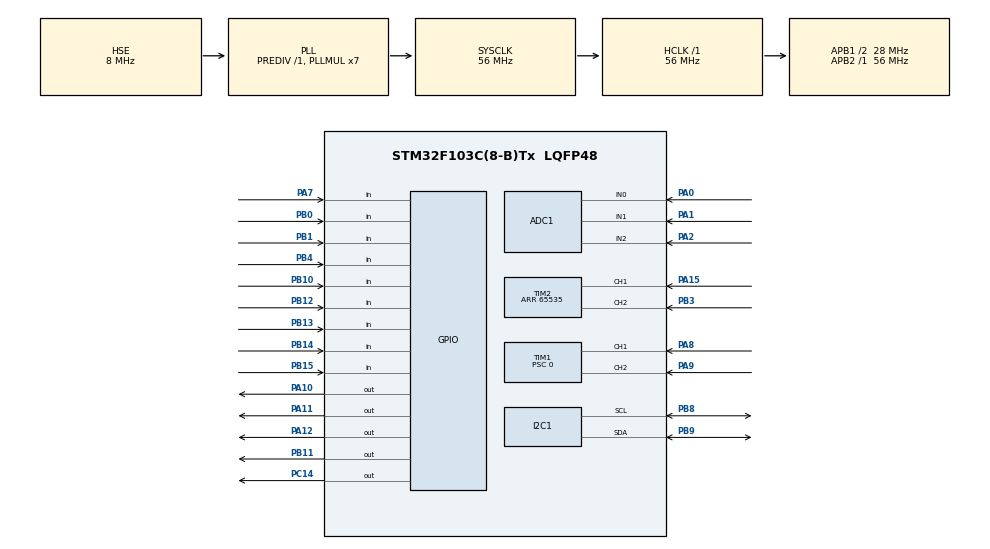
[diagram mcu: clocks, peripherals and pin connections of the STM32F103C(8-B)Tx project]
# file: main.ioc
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ADC1.Channel-0\#ChannelRegularConversion=ADC_CHANNEL_0
ADC1.ContinuousConvMode=ENABLE
ADC1.NbrOfConversion=1
ADC1.NbrOfConversionFlag=1
ADC1.Rank-0\#ChannelRegularConversion=1
ADC1.SamplingTime-0\#ChannelRegularConversion=ADC_SAMPLETIME_239CYCLES_5
ADC1.master=1
I2C1.I2C_Mode=I2C_Fast
Mcu.Family=STM32F1
Mcu.Name=STM32F103C(8-B)Tx
Mcu.Package=LQFP48
NVIC.PriorityGroup=NVIC_PRIORITYGROUP_4
PA0-WKUP.Signal=ADCx_IN0
PA1.Signal=ADCx_IN1
PA10.Signal=GPIO_Output
PA11.Signal=GPIO_Output
PA12.Signal=GPIO_Output
PA13.Mode=Serial_Wire
PA13.Signal=SYS_JTMS-SWDIO
PA14.Mode=Serial_Wire
PA14.Signal=SYS_JTCK-SWCLK
PA15.GPIO_PuPd=GPIO_PULLUP
PA15.Signal=S_TIM2_CH1_ETR
PA2.Signal=ADCx_IN2
PA7.GPIO_PuPd=GPIO_PULLUP
PA7.Signal=GPIO_Input
PA8.GPIO_Mode=GPIO_MODE_INPUT
PA8.GPIO_PuPd=GPIO_PULLUP
PA8.Signal=S_TIM1_CH1
PA9.GPIO_Mode=GPIO_MODE_INPUT
PA9.GPIO_PuPd=GPIO_PULLUP
PA9.Signal=S_TIM1_CH2
PB0.GPIO_PuPd=GPIO_PULLUP
PB0.Signal=GPIO_Input
PB1.GPIO_PuPd=GPIO_PULLUP
PB1.Signal=GPIO_Input
PB10.GPIO_PuPd=GPIO_PULLUP
PB10.Signal=GPIO_Input
PB11.Signal=GPIO_Output
PB12.GPIO_PuPd=GPIO_PULLUP
PB12.Signal=GPIO_Input
PB13.GPIO_PuPd=GPIO_PULLUP
PB13.Signal=GPIO_Input
PB14.GPIO_PuPd=GPIO_PULLUP
PB14.Signal=GPIO_Input
PB15.GPIO_PuPd=GPIO_PULLUP
PB15.Signal=GPIO_Input
PB3.GPIO_PuPd=GPIO_PULLUP
PB3.Signal=S_TIM2_CH2
PB4.GPIO_PuPd=GPIO_PULLUP
PB4.Signal=GPIO_Input
PB8.Mode=I2C
PB8.Signal=I2C1_SCL
PB9.Mode=I2C
PB9.Signal=I2C1_SDA
PC14-OSC32_IN.Signal=GPIO_Output
PD0-OSC_IN.Mode=HSE-External-Oscillator
PD0-OSC_IN.Signal=RCC_OSC_IN
PD1-OSC_OUT.Mode=HSE-External-Oscillator
PD1-OSC_OUT.Signal=RCC_OSC_OUT
ProjectManager.HeapSize=0x200
ProjectManager.StackSize=0x400
ProjectManager.TargetToolchain=Makefile
RCC.ADCPresc=RCC_ADCPCLK2_DIV4
RCC.AHBFreq_Value=56000000
RCC.APB1CLKDivider=RCC_HCLK_DIV2
RCC.APB1Freq_Value=28000000
RCC.APB1TimFreq_Value=56000000
RCC.APB2Freq_Value=56000000
RCC.APB2TimFreq_Value=56000000
RCC.HCLKFreq_Value=56000000
RCC.PLLMUL=RCC_PLL_MUL7
RCC.PLLSourceVirtual=RCC_PLLSOURCE_HSE
RCC.SYSCLKFreq_VALUE=56000000
RCC.SYSCLKSource=RCC_SYSCLKSOURCE_PLLCLK
RCC.USBFreq_Value=56000000
SH.ADCx_IN0.0=ADC1_IN0,IN0
SH.ADCx_IN1.0=ADC1_IN1,IN1
SH.ADCx_IN2.0=ADC1_IN2,IN2
SH.S_TIM1_CH1.0=TIM1_CH1,Encoder_Interface
SH.S_TIM1_CH2.0=TIM1_CH2,Encoder_Interface
SH.S_TIM2_CH1_ETR.0=TIM2_CH1,Encoder_Interface
SH.S_TIM2_CH2.0=TIM2_CH2,Encoder_Interface
TIM1.ClockDivision=TIM_CLOCKDIVISION_DIV1
TIM1.CounterMode=TIM_COUNTERMODE_UP
TIM1.EncoderMode=TIM_ENCODERMODE_TI1
TIM1.IC1Filter=0
TIM1.IC2Filter=0
TIM1.Period=65535
TIM1.Prescaler=0
TIM2.Period=65535
board=stm32-si5351-vfo

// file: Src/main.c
/* USER CODE BEGIN Header */
/**
  ******************************************************************************
  * @file           : main.c
  * @brief          : Main program body
  ******************************************************************************
  ** This notice applies to any and all portions of this file
  * that are not between comment pairs USER CODE BEGIN and
  * USER CODE END. Other portions of this file, whether
  * inserted by the user or by software development tools
  * are owned by their respective copyright owners.
  *
  * COPYRIGHT(c) 2020 STMicroelectronics
  *
  * Redistribution and use in source and binary forms, with or without modification,
  * are permitted provided that the following conditions are met:
  *   1. Redistributions of source code must retain the above copyright notice,
  *      this list of conditions and the following disclaimer.
  *   2. Redistributions in binary form must reproduce the above copyright notice,
  *      this list of conditions and the following disclaimer in the documentation
  *      and/or other materials provided with the distribution.
  *   3. Neither the name of STMicroelectronics nor the names of its contributors
  *      may be used to endorse or promote products derived from this software
  *      without specific prior written permission.
  *
  * THIS SOFTWARE IS PROVIDED BY THE COPYRIGHT HOLDERS AND CONTRIBUTORS "AS IS"
  * AND ANY EXPRESS OR IMPLIED WARRANTIES, INCLUDING, BUT NOT LIMITED TO, THE
  * IMPLIED WARRANTIES OF MERCHANTABILITY AND FITNESS FOR A PARTICULAR PURPOSE ARE
  * DISCLAIMED. IN NO EVENT SHALL THE COPYRIGHT HOLDER OR CONTRIBUTORS BE LIABLE
  * FOR ANY DIRECT, INDIRECT, INCIDENTAL, SPECIAL, EXEMPLARY, OR CONSEQUENTIAL
  * DAMAGES (INCLUDING, BUT NOT LIMITED TO, PROCUREMENT OF SUBSTITUTE GOODS OR
  * SERVICES; LOSS OF USE, DATA, OR PROFITS; OR BUSINESS INTERRUPTION) HOWEVER
  * CAUSED AND ON ANY THEORY OF LIABILITY, WHETHER IN CONTRACT, STRICT LIABILITY,
  * OR TORT (INCLUDING NEGLIGENCE OR OTHERWISE) ARISING IN ANY WAY OUT OF THE USE
  * OF THIS SOFTWARE, EVEN IF ADVISED OF THE POSSIBILITY OF SUCH DAMAGE.
  *
  ******************************************************************************
  */
/* USER CODE END Header */

#include "main.h"

/* USER CODE BEGIN Includes */
#include <string.h>
#include <stdlib.h>
#include <stdbool.h>
#include "si5351.h"
#include "lcd.h"

/* USER CODE END Includes */

ADC_HandleTypeDef hadc1;

I2C_HandleTypeDef hi2c1;

TIM_HandleTypeDef htim1;
TIM_HandleTypeDef htim2;

/* USER CODE BEGIN PV */
/* Private variables ---------------------------------------------------------*/

/* USER CODE END PV */

void SystemClock_Config(void);
static void MX_GPIO_Init(void);
static void MX_TIM1_Init(void);
static void MX_I2C1_Init(void);
static void MX_TIM2_Init(void);
static void MX_ADC1_Init(void);
/* USER CODE BEGIN PFP */
/* Private function prototypes -----------------------------------------------*/

/* USER CODE END PFP */

/* USER CODE BEGIN 0 */

#define CH_CW   0
#define CH_CAL  1
#define CH_VFO  2

const int32_t XtalFilterCenterFrequency = 8998280;
const int32_t si5351_correction = 5760;

/* Adjust for used rotary encoders */
#define MAIN_DELTA_DIV 20
#define MAIN_DELTA_MULT 1
#define MULTI_DELTA_DIV 1
#define MULTI_DELTA_MULT -1

int32_t Fvfo = 1000000; // dummy value, will be changed below

const uint8_t eeprom_i2c_addr = (0x50 << 1);
#define KEYER_CONFIG_EEPROM_ADDR        0x0000

typedef enum {
    CLAR_MODE_DISABLED = 0,
    CLAR_MODE_RIT = 1,
    CLAR_MODE_XIT = 2,
} ClarMode_t;

bool lockMode = false;
bool fastMode = false;
bool bandMode = false;
ClarMode_t clarMode = CLAR_MODE_DISABLED;

int32_t clarOffset = 0;

int32_t sendStart = 0;
int32_t sendFinish = 0;
int32_t keyReadTimeout = 0;
int32_t sendTimeout = 0;
bool isSending = false;

typedef enum {
    CW_SEND_NONE = 0,
    CW_SEND_DIT = 1,
    CW_SEND_DAH = 2,
} CwSend_t;

CwSend_t lastSent = CW_SEND_NONE;
CwSend_t nextSend = CW_SEND_NONE;

typedef struct {
    uint16_t checksum;
    bool straightKey;
    int32_t speedWPM;
    int32_t ditTimeMs;
} KeyerConfig_t;

KeyerConfig_t keyerConfig = {
    .checksum = 0,
    .straightKey = false,
    .speedWPM = 19,

    // ditTimeMs = 60*1000/(50*WPM)
    // where 50 is the length in dits of "PARIS "
    // see https://morsecode.world/international/timing.html
    .ditTimeMs = 63,
};

bool inTransmitMode = false;
bool inCWTrainerMode = false;

#define BUTTON_DEBOUNCE_TIME_MS 200
typedef enum {
    BUTTON_STATUS_PRESSED = 0,
    BUTTON_STATUS_RELEASED = 1,
    BUTTON_STATUS_DEBOUNCE = 2,
} ButtonStatus_t;

typedef enum {
    USE_LPF_30 = 0,
    USE_LPF_17 = 1,
    USE_LPF_12 = 2,
} UseLPF_t;

typedef struct {
    int32_t minFreq;
    int32_t maxFreq;
    int32_t lastFreq;
    UseLPF_t lpf;
    /*
     * Compensate for losses in RG-174, frequency response of the given
     * PA depending on the used transistor, imperfections of the LPFs, etc.
     */
    si5351DriveStrength_t txDriveStrength;
} BandInfo_t;

int32_t currentBand = 0; // default: 30m

BandInfo_t bands[] = {
/*
    {
        .minFreq  = 3500000,
        .maxFreq  = 3570000,
        .lastFreq = 3560000,
        .lpf = USE_LPF_80,
        .txDriveStrength = SI5351_DRIVE_STRENGTH_2MA,
    },
    {
        .minFreq  = 7000000,
        .maxFreq  = 7040000,
        .lastFreq = 7030000,
        .lpf = USE_LPF_40,
        .txDriveStrength = SI5351_DRIVE_STRENGTH_2MA,
    },
*/
    {
        .minFreq  = 10100000,
        .maxFreq  = 10130000,
        .lastFreq = 10116000,
        .lpf = USE_LPF_30,
        .txDriveStrength = SI5351_DRIVE_STRENGTH_2MA,
    },
/*
    {
        .minFreq  = 14000000,
        .maxFreq  = 14070000,
        .lastFreq = 14060000,
        .lpf = USE_LPF_20,
        .txDriveStrength = SI5351_DRIVE_STRENGTH_2MA,
    },
*/
    {
        .minFreq  = 18068000,
        .maxFreq  = 18095000,
        .lastFreq = 18086000,
        .lpf = USE_LPF_17,
        .txDriveStrength = SI5351_DRIVE_STRENGTH_2MA,
    },
/*
    {
        .minFreq  = 21000000,
        .maxFreq  = 21070000,
        .lastFreq = 21060000,
        .lpf = USE_LPF_15,
        .txDriveStrength = SI5351_DRIVE_STRENGTH_2MA,
    },
*/
    {
        .minFreq  = 24890000,
        .maxFreq  = 24915000,
        .lastFreq = 24906000,
        .lpf = USE_LPF_12,
        .txDriveStrength = SI5351_DRIVE_STRENGTH_2MA,
    },
/*
    {
        .minFreq  = 28000000,
        .maxFreq  = 28070000,
        .lastFreq = 28060000,
        .lpf = USE_LPF_10,
        .txDriveStrength = SI5351_DRIVE_STRENGTH_2MA,
    },
*/
};

void ADC_Select_Channel(uint32_t ch) {
    ADC_ChannelConfTypeDef conf = {
        .Channel = ch,
        .Rank = 1,
        .SamplingTime = ADC_SAMPLETIME_28CYCLES_5,
    };
    if (HAL_ADC_ConfigChannel(&hadc1, &conf) != HAL_OK) {
        Error_Handler();
    }
}

double ADC_ReadVoltage(uint32_t ch) {
    ADC_Select_Channel(ch);
    HAL_ADC_PollForConversion(&hadc1, HAL_MAX_DELAY);
    return ((double)HAL_ADC_GetValue(&hadc1))*3.3/4096.0;
}

// http://en.wikipedia.org/wiki/Jenkins_hash_function
uint32_t jenkinsHash(const uint8_t *data, const size_t len) {
  uint32_t hash, i;
  for(hash = i = 0; i < len; ++i) {
    hash += data[i];
    hash += (hash << 10);
    hash ^= (hash >> 6);
  }
  hash += (hash << 3);
  hash ^= (hash >> 11);
  hash += (hash << 15);
  return hash;
}

void loadKeyerConfig() {
    HAL_StatusTypeDef status;
    uint16_t savedChecksum;
    KeyerConfig_t savedKeyerConfig;

    for(;;) {
        status = HAL_I2C_IsDeviceReady(&hi2c1, eeprom_i2c_addr, 3, HAL_MAX_DELAY);
        if(status == HAL_OK)
            break;
    }

    HAL_I2C_Mem_Read(&hi2c1, eeprom_i2c_addr, KEYER_CONFIG_EEPROM_ADDR, I2C_MEMADD_SIZE_16BIT,
        (uint8_t*)&savedKeyerConfig, sizeof(savedKeyerConfig), HAL_MAX_DELAY);

    savedChecksum = savedKeyerConfig.checksum;
    savedKeyerConfig.checksum = 0;

    if((jenkinsHash((const uint8_t*)&savedKeyerConfig, sizeof(savedKeyerConfig)) & 0xFFFF) == savedChecksum) {
        keyerConfig = savedKeyerConfig;
    } else {
        LCD_Goto(0, 0);
        LCD_SendString("CHECKSUM");
        LCD_Goto(1, 0);
        LCD_SendString(" ERROR! ");
        HAL_Delay(2000);
        LCD_Clear();
    }
}

void saveKeyerConfig() {
    HAL_StatusTypeDef status;
    uint16_t checksum;
    keyerConfig.checksum = 0;

    checksum = (jenkinsHash((const uint8_t*)&keyerConfig, sizeof(keyerConfig)) & 0xFFFF);
    keyerConfig.checksum = checksum;

    for(;;) {
        status = HAL_I2C_IsDeviceReady(&hi2c1, eeprom_i2c_addr, 3, HAL_MAX_DELAY);
        if(status == HAL_OK)
            break;
    }

    HAL_I2C_Mem_Write(&hi2c1, eeprom_i2c_addr, KEYER_CONFIG_EEPROM_ADDR, I2C_MEMADD_SIZE_16BIT,
        (uint8_t*)&keyerConfig, sizeof(keyerConfig), HAL_MAX_DELAY);
}

void changeKeyerSpeed(int32_t delta) {
    keyerConfig.speedWPM += delta;
    if(keyerConfig.speedWPM < 10) {
        keyerConfig.speedWPM = 9;
        keyerConfig.straightKey = true;
        keyerConfig.ditTimeMs = 60*1000/(50*16); // as for 16 WPM
    } else {
        keyerConfig.straightKey = false;
        if(keyerConfig.speedWPM > 30) {
            keyerConfig.speedWPM = 30;
        }

        /* +1 compensates the signal rise/fall time */
        keyerConfig.ditTimeMs = 60*1000/(50*(keyerConfig.speedWPM + 1));
    }
}

void SetupCLK(uint8_t output, int32_t Fclk, si5351DriveStrength_t driveStrength) {
    static bool pllSetupDone = false;
    si5351PLLConfig_t pll_conf;
    si5351OutputConfig_t out_conf;

    si5351_Calc(Fclk, &pll_conf, &out_conf);
    if(!pllSetupDone) {
        si5351_SetupPLL(SI5351_PLL_A, &pll_conf);
        pllSetupDone = true;
    }
    si5351_SetupOutput(output, SI5351_PLL_A, driveStrength, &out_conf);
}

void enableTx(bool enable) {
    HAL_GPIO_WritePin(GPIOC, GPIO_PIN_14, enable ? GPIO_PIN_SET : GPIO_PIN_RESET);
}

void changeFrequency(int32_t delta, bool force) {
    static int32_t prevFvfo = 0;

    if((!force) && lockMode) {
        return;
    }

    if(fastMode) {
        delta *= 10;
    }
    bands[currentBand].lastFreq += 100*delta;
    if(fastMode && (delta != 0)) {
        bands[currentBand].lastFreq -= bands[currentBand].lastFreq % 1000;
    }

    if(bands[currentBand].lastFreq < bands[currentBand].minFreq) {
        bands[currentBand].lastFreq = bands[currentBand].minFreq;
    } else if(bands[currentBand].lastFreq > bands[currentBand].maxFreq) {
        bands[currentBand].lastFreq = bands[currentBand].maxFreq;
    }

    Fvfo = bands[currentBand].lastFreq + XtalFilterCenterFrequency;
    if(clarMode == CLAR_MODE_RIT) {
        Fvfo += clarOffset;
    }

    if(force || (Fvfo != prevFvfo)) {
        SetupCLK(CH_VFO, Fvfo, SI5351_DRIVE_STRENGTH_4MA);
    }

    prevFvfo = Fvfo;
}

void displayKeyerSettings() {
    char buff[16];
    if(keyerConfig.straightKey) {
        LCD_Goto(0, 0);
        LCD_SendString("SPEED --");
        LCD_Goto(1, 0);
        LCD_SendString("STRAIGHT");
    } else {
        snprintf(buff, sizeof(buff), "SPEED %02ld", keyerConfig.speedWPM);
        LCD_Goto(0, 0);
        LCD_SendString(buff);
        LCD_Goto(1, 0);
        LCD_SendString("IAMBIC  ");
    }
}

void displayFrequency() {
    char buff[16];
    snprintf(buff, sizeof(buff), "%02ld.%03ld.%01ld",
        bands[currentBand].lastFreq / 1000000,
        (bands[currentBand].lastFreq % 1000000) / 1000,
        (bands[currentBand].lastFreq % 1000) / 100);

    LCD_Goto(0, 0);
    LCD_SendString(buff);
}

bool buttonDitPressed() {
    return (HAL_GPIO_ReadPin(GPIOB, GPIO_PIN_12) == GPIO_PIN_RESET);
}

bool buttonDahPressed() {
    return (HAL_GPIO_ReadPin(GPIOB, GPIO_PIN_13) == GPIO_PIN_RESET);
}

void displaySMeterOrMode(bool force) {
    static const char* prevSValue = NULL;
    static uint32_t lastSMeterUpdateTime = 0;
    // don't forget to add '-u _printf_float' to LDFLAGS
    char buff[16];

    if(force) {
        LCD_Goto(1, 0);
        if(fastMode) {
            LCD_SendString("= FAST =");
            return;
        } else if(lockMode) {
            LCD_SendString("= LOCK =");
            return;
        } else if(bandMode) {
            LCD_SendString("= BAND =");
            return;
        } else if(clarMode != CLAR_MODE_DISABLED) {
            snprintf(buff, sizeof(buff), "%s%s%04d",
                clarMode == CLAR_MODE_RIT ? "RIT" : "XIT",
                clarOffset < 0 ? "-" : "+",
                abs(clarOffset));
            LCD_SendString(buff);
            return;
        }
    }

    uint32_t tstamp = HAL_GetTick();
    if(force || (tstamp - lastSMeterUpdateTime > 500)) {
        const char* sValue = NULL;
        double voltage = ADC_ReadVoltage(ADC_CHANNEL_2);

        if(voltage <= 0.035) {
            sValue = "S0      ";
        } else if(voltage <= 0.04) {
            sValue = "S1      ";
        } else if(voltage <= 0.06) {
            sValue = "S2\x02     ";
        } else if(voltage <= 0.1) {
            sValue = "S3\x02     ";
        } else if(voltage <= 0.2) {
            sValue = "S4\x02\x03    ";
        } else if(voltage <= 0.5) {
            sValue = "S5\x02\x03    ";
        } else if(voltage <= 0.9) {
            sValue = "S6\x02\x03\x04   ";
        } else if(voltage <= 1.8) {
            sValue = "S7\x02\x03\x04\x05  ";
        } else if(voltage <= 2.2) {
            sValue = "S8\x02\x03\x04\x05\x06 ";
        } else if(voltage <= 2.65) {
            sValue = "S9\x02\x03\x04\x05\x06\x07";
        } else {
            sValue = "S+\x02\x03\x04\x05\x06\x07";
        }

        if(force || (prevSValue != sValue)) {
            // Don't re-render the S-meter if we are about to transmit
            if(!buttonDitPressed() && !buttonDahPressed()) {
                LCD_Goto(1, 0);
                LCD_SendString(sValue);
            }
        }

        prevSValue = sValue;
        lastSMeterUpdateTime = tstamp;
    }
}

void keyDown() {
    // CW tone ON
    HAL_GPIO_WritePin(GPIOB, GPIO_PIN_11, GPIO_PIN_SET);
}

void keyUp() {
    // CW tone OFF
    HAL_GPIO_WritePin(GPIOB, GPIO_PIN_11, GPIO_PIN_RESET);
}

void switchLPFs(UseLPF_t lpf) {
    HAL_GPIO_WritePin(GPIOA, GPIO_PIN_10, lpf == USE_LPF_30 ? GPIO_PIN_SET : GPIO_PIN_RESET);
    HAL_GPIO_WritePin(GPIOA, GPIO_PIN_11, lpf == USE_LPF_17 ? GPIO_PIN_SET : GPIO_PIN_RESET);
    HAL_GPIO_WritePin(GPIOA, GPIO_PIN_12, lpf == USE_LPF_12 ? GPIO_PIN_SET : GPIO_PIN_RESET);
}

void changeBand(int32_t delta) {
    currentBand += delta;
    while(currentBand < 0) {
        currentBand += sizeof(bands)/sizeof(bands[0]);
    }
    currentBand %= sizeof(bands)/sizeof(bands[0]);

    switchLPFs(bands[currentBand].lpf);
    changeFrequency(0, false);
    si5351_EnableOutputs(1 << CH_VFO);
    displayFrequency();
}

void enterCWTrainerMode() {
    if(inCWTrainerMode) {
        return;
    }

    inCWTrainerMode = true;
}

void leaveCWTrainerMode() {
    if(!inCWTrainerMode) {
        return;
    }

    inCWTrainerMode = false;
}

void ensureTransmitMode() {
    if(inTransmitMode) {
        return;
    }

    int32_t targetFrequency = bands[currentBand].lastFreq;
    if(clarMode == CLAR_MODE_XIT) {
        targetFrequency += clarOffset;
    }

    SetupCLK(CH_CW, targetFrequency, bands[currentBand].txDriveStrength);
    si5351_EnableOutputs(1 << CH_CW);

    enableTx(true);

    LCD_Goto(1, 0);
    LCD_SendString("SWR  ---");

    inTransmitMode = true;
}

void ensureReceiveMode() {
    if(!inTransmitMode) {
        return;
    }
    enableTx(false);

    // Restore the original VFO
    changeFrequency(0, true);
    si5351_EnableOutputs(1 << CH_VFO);
    displaySMeterOrMode(true);
    inTransmitMode = false;
}

ButtonStatus_t buttonPressed(GPIO_TypeDef *GPIOx, uint16_t GPIO_Pin, uint32_t* lastPressed) {
    if(HAL_GPIO_ReadPin(GPIOx, GPIO_Pin) == GPIO_PIN_RESET) {
        uint32_t now = HAL_GetTick();
        if(now - *lastPressed > BUTTON_DEBOUNCE_TIME_MS) {
            *lastPressed = now;
            return BUTTON_STATUS_PRESSED;
        } else {
            return BUTTON_STATUS_DEBOUNCE;
        }
    }
    return BUTTON_STATUS_RELEASED;
}

bool switchRitMode() {
    return (HAL_GPIO_ReadPin(GPIOB, GPIO_PIN_4) == GPIO_PIN_RESET);
}

ButtonStatus_t buttonBandPressed() {
    static uint32_t lastPressed = 0;
    return buttonPressed(GPIOB, GPIO_PIN_14, &lastPressed);
}

ButtonStatus_t buttonFastPressed() {
    static uint32_t lastPressed = 0;
    return buttonPressed(GPIOB, GPIO_PIN_15, &lastPressed);
}

ButtonStatus_t buttonLockPressed() {
    static uint32_t lastPressed = 0;
    return buttonPressed(GPIOB, GPIO_PIN_10, &lastPressed);
}

ButtonStatus_t buttonClarPressed() {
    static uint32_t lastPressed = 0;
    return buttonPressed(GPIOB, GPIO_PIN_1, &lastPressed);
}

ButtonStatus_t buttonSpotPressed() {
    // for SPOT there is no debounce
    if(HAL_GPIO_ReadPin(GPIOB, GPIO_PIN_0) == GPIO_PIN_RESET) {
        return BUTTON_STATUS_PRESSED;
    } else {
        return BUTTON_STATUS_RELEASED;
    }
}

ButtonStatus_t buttonKeyerPressed() {
    static uint32_t lastPressed = 0;
    return buttonPressed(GPIOA, GPIO_PIN_7, &lastPressed);
}

// `straightKeyerKeyIsDown` is used to avoid calling keyUp()/keyDown() if we did it already.
// Calling HAL_GPIO_WritePin() too often generates a hearable noise.
bool straightKeyerKeyIsDown;

void initStraightKeyer() {
    straightKeyerKeyIsDown = false;
}

void processStraightKeyerLogic(bool pressed) {
    if(pressed) {
        if(!straightKeyerKeyIsDown) {
            keyDown();
            straightKeyerKeyIsDown = true;
        }
    } else if(straightKeyerKeyIsDown) {
        keyUp();
        straightKeyerKeyIsDown = false;
    }
}

void initIambicKeyer() {
    // iambic keyer doesn't need to init anything
}

void processIambicKeyerLogic(bool ditPressed, bool dahPressed) {
    int32_t now = HAL_GetTick();

    if(isSending && (now >= sendFinish)) {
        keyUp();
        isSending = false;
    }

    if(nextSend == CW_SEND_NONE) {
        if(ditPressed && (lastSent == CW_SEND_DAH)) {
            nextSend = CW_SEND_DIT;
        } else if(dahPressed && (lastSent == CW_SEND_DIT)) {
            nextSend = CW_SEND_DAH;
        } else if(now > keyReadTimeout) {
            if(ditPressed) {
                nextSend = CW_SEND_DIT;
            } else if (dahPressed) {
                nextSend = CW_SEND_DAH;
            }
        }
    }

    if((now > sendTimeout) && (nextSend != CW_SEND_NONE)) {
        if(nextSend == CW_SEND_DIT) {
            sendFinish = now + keyerConfig.ditTimeMs;
            keyReadTimeout = now + keyerConfig.ditTimeMs*2;
        } else if(nextSend == CW_SEND_DAH) {
            sendFinish = now + keyerConfig.ditTimeMs*3;
            keyReadTimeout = now + keyerConfig.ditTimeMs*3;
        }

        lastSent = nextSend;
        nextSend = CW_SEND_NONE;
        sendStart = now;
        sendTimeout = sendFinish + keyerConfig.ditTimeMs;
        isSending = true;
        keyDown();
    }
}

int32_t getDelta(TIM_HandleTypeDef* htim, int32_t *prevCounter, int32_t mult, int32_t div) {
    int32_t currCounter = __HAL_TIM_GET_COUNTER(htim);
    currCounter = mult*(currCounter / div);
    currCounter = 32767 - ((currCounter-1) & 0xFFFF) / 2;
    if(currCounter > 32768/2) {
        // convert ... 32766, 32767, 0, 1, 2 ... into:
        //               ... -2, -1, 0, 1, 2 ...
        // this simplifies `delta` calculation
        currCounter = currCounter-32768;
    }

    if(currCounter != *prevCounter) {
        int32_t delta = *prevCounter-currCounter;
        *prevCounter = currCounter;

        // debounce or skip counter overflow
        if((delta > -10) && (delta < 10)) {
            return delta;
        }
    }

    return 0;
}

void loopKeyer() {
    uint32_t CWTrainerModeEnterTime = 0;
    int32_t prevCounter = 0;
    displayKeyerSettings();
    // read the initial counter value
    (void)getDelta(&htim2, &prevCounter, MULTI_DELTA_MULT, MULTI_DELTA_DIV);

    for(;;) {
        bool ditPressed = buttonDitPressed();
        bool dahPressed = buttonDahPressed();

        if((ditPressed || dahPressed)) {
            CWTrainerModeEnterTime = HAL_GetTick();
            if(!inCWTrainerMode) {
                enterCWTrainerMode();
                if(keyerConfig.straightKey) {
                    initStraightKeyer();
                } else {
                    initIambicKeyer();
                }
            }
        } else {
            uint32_t tstamp = HAL_GetTick();
            if(tstamp - CWTrainerModeEnterTime > keyerConfig.ditTimeMs*8) {
                leaveCWTrainerMode();
            }
        }

        if(inCWTrainerMode) {
            if(keyerConfig.straightKey) {
                processStraightKeyerLogic(ditPressed);
            } else {
                processIambicKeyerLogic(ditPressed, dahPressed);
            }
        }

        int32_t delta = getDelta(&htim2, &prevCounter, MULTI_DELTA_MULT, MULTI_DELTA_DIV);
        if(delta != 0) {
            // reset the keyer logic if dit or dah is presset
            leaveCWTrainerMode();
            keyUp();
            changeKeyerSpeed(delta);
            displayKeyerSettings();
        }

        if(buttonKeyerPressed() == BUTTON_STATUS_PRESSED) {
            break;
        }

        HAL_Delay(5);
    }

    leaveCWTrainerMode();
    saveKeyerConfig();
    displayFrequency();
    displaySMeterOrMode(true);
}

void loopBand() {
    ClarMode_t prevClarMode = CLAR_MODE_DISABLED;
    int32_t prevCounter = 0;

    bandMode = true;
    displaySMeterOrMode(true);

    // read the initial counter value
    (void)getDelta(&htim1, &prevCounter, MAIN_DELTA_MULT, MAIN_DELTA_DIV);

    for(;;) {
        if(clarMode != CLAR_MODE_DISABLED) {
            if(switchRitMode()) {
                clarMode = CLAR_MODE_RIT;
            } else {
                clarMode = CLAR_MODE_XIT;
            }

            if(clarMode != prevClarMode) {
                displaySMeterOrMode(true);
                changeFrequency(0, false);
                prevClarMode = clarMode;
            }
        }

        int32_t delta = getDelta(&htim1, &prevCounter, MAIN_DELTA_MULT, MAIN_DELTA_DIV);
        if(delta != 0) {
            changeBand(delta);
        }

        if(buttonBandPressed() == BUTTON_STATUS_PRESSED) {
            break;
        }

        HAL_Delay(5);
    }

    bandMode = false;
    displaySMeterOrMode(true);
}

void loopMain() {
    static int32_t prevMainCounter = 0;
    static int32_t prevMultiCounter = 0;
    static uint32_t transmitModeEnterTime = 0;
    static uint32_t lastSWRCheckTime = 0;
    static double lastSWRValue = 0.0;
    static bool prevClarModeRit = false;
    bool ditPressed = buttonDitPressed();
    bool dahPressed = buttonDahPressed();

    if(ditPressed || dahPressed) {
        transmitModeEnterTime = HAL_GetTick();
        if(!inTransmitMode) {
            ensureTransmitMode();
            lastSWRCheckTime = 0;
            lastSWRValue = 0.0;

            if(keyerConfig.straightKey) {
                initStraightKeyer();
            } else {
                initIambicKeyer();
            }
        }
    } else {
        uint32_t tstamp = HAL_GetTick();
        if((tstamp - transmitModeEnterTime > keyerConfig.ditTimeMs*15) && (inTransmitMode)) {
            ensureReceiveMode();
            // discard any changes in counters
            (void)getDelta(&htim1, &prevMainCounter, MAIN_DELTA_MULT, MAIN_DELTA_DIV);
            (void)getDelta(&htim2, &prevMultiCounter, MULTI_DELTA_MULT, MULTI_DELTA_DIV);
        }
    }

    if(inTransmitMode) {
        if(keyerConfig.straightKey) {
            processStraightKeyerLogic(ditPressed);
        } else {
            processIambicKeyerLogic(ditPressed, dahPressed);
        }

        uint32_t tstamp = HAL_GetTick();
        if(tstamp - lastSWRCheckTime > 100) {
            double v_fwd = ADC_ReadVoltage(ADC_CHANNEL_0);
            if(v_fwd > 0) {
                double v_ref = ADC_ReadVoltage(ADC_CHANNEL_1);
                double ratio = v_ref / v_fwd;
                double swr = (1+ratio)/(1-ratio);

                if(abs(lastSWRValue - swr) > 0.2) {
                    LCD_Goto(1, 5);
                    if(swr >= 10) {
                        LCD_SendString("10+");
                    } else {
                        char buff[8];
                        snprintf(buff, sizeof(buff), "%.1f", swr);
                        LCD_SendString(buff);
                    }

                    lastSWRValue = swr;
                }

                lastSWRCheckTime = tstamp;
            }
        }
    } else {
        int32_t delta = getDelta(&htim1, &prevMainCounter, MAIN_DELTA_MULT, MAIN_DELTA_DIV);
        if(delta != 0) {
            changeFrequency(delta, false); // will do nothing in LOCK mode
            displayFrequency();
        }

        if(buttonSpotPressed() == BUTTON_STATUS_PRESSED) {
            keyDown();
        } else {
            keyUp();
        }

        bool currClarModeRit = switchRitMode();
        if((clarMode != CLAR_MODE_DISABLED) && (currClarModeRit != prevClarModeRit)) {
            if(currClarModeRit) {
                clarMode = CLAR_MODE_RIT;
            } else {
                clarMode = CLAR_MODE_XIT;
            }
            changeFrequency(0, false);
            displaySMeterOrMode(true);
            prevClarModeRit = currClarModeRit;
        }

        if((clarMode != CLAR_MODE_DISABLED) && (!fastMode) && (!lockMode)) {
            delta = getDelta(&htim2, &prevMultiCounter, MULTI_DELTA_MULT, MULTI_DELTA_DIV);
            if(delta != 0) {
                clarOffset = clarOffset + delta*50;
                if(clarOffset < -3000) {
                    clarOffset = -3000;
                } else if (clarOffset > 3000) {
                    clarOffset = 3000;
                }

                if(clarMode == CLAR_MODE_RIT) {
                    changeFrequency(0, false);
                }
                displaySMeterOrMode(true);
            }
        }

        if((buttonLockPressed() == BUTTON_STATUS_PRESSED) && (!fastMode)) {
            lockMode = !lockMode;
            if(!lockMode) {
                // discard any changes in counters
                (void)getDelta(&htim1, &prevMainCounter, MAIN_DELTA_MULT, MAIN_DELTA_DIV);
                (void)getDelta(&htim2, &prevMultiCounter, MULTI_DELTA_MULT, MULTI_DELTA_DIV);
            }
            displaySMeterOrMode(true);
        } else if(!lockMode) {
            if((buttonBandPressed() == BUTTON_STATUS_PRESSED) && (!fastMode)) {
                loopBand();
                // discard any changes in counters
                (void)getDelta(&htim1, &prevMainCounter, MAIN_DELTA_MULT, MAIN_DELTA_DIV);
                (void)getDelta(&htim2, &prevMultiCounter, MULTI_DELTA_MULT, MULTI_DELTA_DIV);
            } else if(buttonFastPressed() == BUTTON_STATUS_PRESSED) {
                fastMode = !fastMode;
                if(!fastMode) {
                    // discard any changes in counters
                    (void)getDelta(&htim1, &prevMainCounter, MAIN_DELTA_MULT, MAIN_DELTA_DIV);
                    (void)getDelta(&htim2, &prevMultiCounter, MULTI_DELTA_MULT, MULTI_DELTA_DIV);
                }
                displaySMeterOrMode(true);
            } else if(buttonClarPressed() == BUTTON_STATUS_PRESSED) {
                if(clarMode == CLAR_MODE_DISABLED) {
                    clarMode = currClarModeRit ? CLAR_MODE_RIT : CLAR_MODE_XIT;
                } else {
                    clarMode = CLAR_MODE_DISABLED;
                    changeFrequency(0, false);
                }
                clarOffset = 0;
                (void)getDelta(&htim2, &prevMultiCounter, MULTI_DELTA_MULT, MULTI_DELTA_DIV);
                displaySMeterOrMode(true);
            } else if(buttonKeyerPressed() == BUTTON_STATUS_PRESSED) {
                loopKeyer();
                // discard any changes in counters
                (void)getDelta(&htim1, &prevMainCounter, MAIN_DELTA_MULT, MAIN_DELTA_DIV);
                (void)getDelta(&htim2, &prevMultiCounter, MULTI_DELTA_MULT, MULTI_DELTA_DIV);
            }
        }

        if((clarMode == CLAR_MODE_DISABLED) && (!lockMode) && (!fastMode)) {
            displaySMeterOrMode(false);
        }
    }

    HAL_Delay(5);
}

void init() {
/*
    // Code for determining the correction factor for Si5351
    char calmsg[16];

    LCD_Init();
    LCD_Goto(0, 0);
    LCD_SendString(" Si5351 ");
    LCD_Goto(1, 0);
    snprintf(calmsg, sizeof(calmsg), "Cal; CH%d", CH_CAL);
    LCD_SendString(calmsg);

    si5351_Init(0);
    si5351PLLConfig_t pll_conf;
    si5351OutputConfig_t out_conf;
    int32_t Fclk = 10000000;

    si5351_Calc(Fclk, &pll_conf, &out_conf);
    si5351_SetupPLL(SI5351_PLL_A, &pll_conf);
    si5351_SetupOutput(CH_CAL, SI5351_PLL_A, SI5351_DRIVE_STRENGTH_4MA, &out_conf);
    si5351_EnableOutputs(1<<CH_CAL);

    while(1) {
        HAL_Delay(100);
    }
*/
    keyUp();

    // Give the LCD and Si5351 some time to initialize after powering up
    HAL_Delay(1000);

    HAL_TIM_Encoder_Start(&htim1, TIM_CHANNEL_ALL);
    HAL_TIM_Encoder_Start(&htim2, TIM_CHANNEL_ALL);
    HAL_ADC_Start(&hadc1);

    LCD_Init();
    LCD_Goto(0, 0);
    LCD_SendString(" HBR/3B ");
    LCD_Goto(1, 0);
    LCD_SendString("Jul 2022");
    HAL_Delay(1000);
    LCD_Clear();

    LCD_Goto(0, 0);
    LCD_SendString("I2C:  ");
    bool first_line = true;
    for(uint16_t i = 1; i < 128; i++) {
        HAL_StatusTypeDef res;
        res = HAL_I2C_IsDeviceReady(&hi2c1, i << 1, 1, 10);
        if(res == HAL_OK) {
            char msg[64];
            snprintf(msg, sizeof(msg), "%02X ", i);
            LCD_SendString(msg);
            if(first_line) {
                LCD_Goto(1, 0);
                first_line = false;
            }
        }
    }
    HAL_Delay(1000);
    LCD_Clear();

    loadKeyerConfig();
    displaySMeterOrMode(true);

    si5351_Init(si5351_correction);
    changeBand(0); // calls changeFrequency()

    inTransmitMode = true;
    ensureReceiveMode();
}

/* USER CODE END 0 */

int main(void)
{

  /* MCU Configuration--------------------------------------------------------*/

  /* Reset of all peripherals, Initializes the Flash interface and the Systick. */
  HAL_Init();

  /* Configure the system clock */
  SystemClock_Config();

  /* Initialize all configured peripherals */
  MX_GPIO_Init();
  MX_TIM1_Init();
  MX_I2C1_Init();
  MX_TIM2_Init();
  MX_ADC1_Init();
  /* USER CODE BEGIN 2 */
  init();
  /* USER CODE END 2 */

  /* Infinite loop */
  /* USER CODE BEGIN WHILE */
  while (1)
  {
    loopMain();
    /* USER CODE END WHILE */

  }
}

void SystemClock_Config(void)
{
  RCC_OscInitTypeDef RCC_OscInitStruct = {0};
  RCC_ClkInitTypeDef RCC_ClkInitStruct = {0};
  RCC_PeriphCLKInitTypeDef PeriphClkInit = {0};

  /**Initializes the CPU, AHB and APB busses clocks
  */
  RCC_OscInitStruct.OscillatorType = RCC_OSCILLATORTYPE_HSE;
  RCC_OscInitStruct.HSEState = RCC_HSE_ON;
  RCC_OscInitStruct.HSEPredivValue = RCC_HSE_PREDIV_DIV1;
  RCC_OscInitStruct.HSIState = RCC_HSI_ON;
  RCC_OscInitStruct.PLL.PLLState = RCC_PLL_ON;
  RCC_OscInitStruct.PLL.PLLSource = RCC_PLLSOURCE_HSE;
  RCC_OscInitStruct.PLL.PLLMUL = RCC_PLL_MUL7;
  if (HAL_RCC_OscConfig(&RCC_OscInitStruct) != HAL_OK)
  {
    Error_Handler();
  }
  /**Initializes the CPU, AHB and APB busses clocks
  */
  RCC_ClkInitStruct.ClockType = RCC_CLOCKTYPE_HCLK|RCC_CLOCKTYPE_SYSCLK
                              |RCC_CLOCKTYPE_PCLK1|RCC_CLOCKTYPE_PCLK2;
  RCC_ClkInitStruct.SYSCLKSource = RCC_SYSCLKSOURCE_PLLCLK;
  RCC_ClkInitStruct.AHBCLKDivider = RCC_SYSCLK_DIV1;
  RCC_ClkInitStruct.APB1CLKDivider = RCC_HCLK_DIV2;
  RCC_ClkInitStruct.APB2CLKDivider = RCC_HCLK_DIV1;

  if (HAL_RCC_ClockConfig(&RCC_ClkInitStruct, FLASH_LATENCY_2) != HAL_OK)
  {
    Error_Handler();
  }
  PeriphClkInit.PeriphClockSelection = RCC_PERIPHCLK_ADC;
  PeriphClkInit.AdcClockSelection = RCC_ADCPCLK2_DIV4;
  if (HAL_RCCEx_PeriphCLKConfig(&PeriphClkInit) != HAL_OK)
  {
    Error_Handler();
  }
}

static void MX_ADC1_Init(void)
{

  ADC_ChannelConfTypeDef sConfig = {0};

  /**Common config
  */
  hadc1.Instance = ADC1;
  hadc1.Init.ScanConvMode = ADC_SCAN_DISABLE;
  hadc1.Init.ContinuousConvMode = ENABLE;
  hadc1.Init.DiscontinuousConvMode = DISABLE;
  hadc1.Init.ExternalTrigConv = ADC_SOFTWARE_START;
  hadc1.Init.DataAlign = ADC_DATAALIGN_RIGHT;
  hadc1.Init.NbrOfConversion = 1;
  if (HAL_ADC_Init(&hadc1) != HAL_OK)
  {
    Error_Handler();
  }
  /**Configure Regular Channel
  */
  sConfig.Channel = ADC_CHANNEL_0;
  sConfig.Rank = ADC_REGULAR_RANK_1;
  sConfig.SamplingTime = ADC_SAMPLETIME_239CYCLES_5;
  if (HAL_ADC_ConfigChannel(&hadc1, &sConfig) != HAL_OK)
  {
    Error_Handler();
  }

}

static void MX_I2C1_Init(void)
{

  hi2c1.Instance = I2C1;
  hi2c1.Init.ClockSpeed = 400000;
  hi2c1.Init.DutyCycle = I2C_DUTYCYCLE_2;
  hi2c1.Init.OwnAddress1 = 0;
  hi2c1.Init.AddressingMode = I2C_ADDRESSINGMODE_7BIT;
  hi2c1.Init.DualAddressMode = I2C_DUALADDRESS_DISABLE;
  hi2c1.Init.OwnAddress2 = 0;
  hi2c1.Init.GeneralCallMode = I2C_GENERALCALL_DISABLE;
  hi2c1.Init.NoStretchMode = I2C_NOSTRETCH_DISABLE;
  if (HAL_I2C_Init(&hi2c1) != HAL_OK)
  {
    Error_Handler();
  }

}

static void MX_TIM1_Init(void)
{

  TIM_Encoder_InitTypeDef sConfig = {0};
  TIM_MasterConfigTypeDef sMasterConfig = {0};

  htim1.Instance = TIM1;
  htim1.Init.Prescaler = 0;
  htim1.Init.CounterMode = TIM_COUNTERMODE_UP;
  htim1.Init.Period = 65535;
  htim1.Init.ClockDivision = TIM_CLOCKDIVISION_DIV1;
  htim1.Init.RepetitionCounter = 0;
  htim1.Init.AutoReloadPreload = TIM_AUTORELOAD_PRELOAD_DISABLE;
  sConfig.EncoderMode = TIM_ENCODERMODE_TI1;
  sConfig.IC1Polarity = TIM_ICPOLARITY_RISING;
  sConfig.IC1Selection = TIM_ICSELECTION_DIRECTTI;
  sConfig.IC1Prescaler = TIM_ICPSC_DIV1;
  sConfig.IC1Filter = 0;
  sConfig.IC2Polarity = TIM_ICPOLARITY_RISING;
  sConfig.IC2Selection = TIM_ICSELECTION_DIRECTTI;
  sConfig.IC2Prescaler = TIM_ICPSC_DIV1;
  sConfig.IC2Filter = 0;
  if (HAL_TIM_Encoder_Init(&htim1, &sConfig) != HAL_OK)
  {
    Error_Handler();
  }
  sMasterConfig.MasterOutputTrigger = TIM_TRGO_RESET;
  sMasterConfig.MasterSlaveMode = TIM_MASTERSLAVEMODE_DISABLE;
  if (HAL_TIMEx_MasterConfigSynchronization(&htim1, &sMasterConfig) != HAL_OK)
  {
    Error_Handler();
  }

}

static void MX_TIM2_Init(void)
{

  TIM_Encoder_InitTypeDef sConfig = {0};
  TIM_MasterConfigTypeDef sMasterConfig = {0};

  htim2.Instance = TIM2;
  htim2.Init.Prescaler = 0;
  htim2.Init.CounterMode = TIM_COUNTERMODE_UP;
  htim2.Init.Period = 65535;
  htim2.Init.ClockDivision = TIM_CLOCKDIVISION_DIV1;
  htim2.Init.AutoReloadPreload = TIM_AUTORELOAD_PRELOAD_DISABLE;
  sConfig.EncoderMode = TIM_ENCODERMODE_TI1;
  sConfig.IC1Polarity = TIM_ICPOLARITY_RISING;
  sConfig.IC1Selection = TIM_ICSELECTION_DIRECTTI;
  sConfig.IC1Prescaler = TIM_ICPSC_DIV1;
  sConfig.IC1Filter = 0;
  sConfig.IC2Polarity = TIM_ICPOLARITY_RISING;
  sConfig.IC2Selection = TIM_ICSELECTION_DIRECTTI;
  sConfig.IC2Prescaler = TIM_ICPSC_DIV1;
  sConfig.IC2Filter = 0;
  if (HAL_TIM_Encoder_Init(&htim2, &sConfig) != HAL_OK)
  {
    Error_Handler();
  }
  sMasterConfig.MasterOutputTrigger = TIM_TRGO_RESET;
  sMasterConfig.MasterSlaveMode = TIM_MASTERSLAVEMODE_DISABLE;
  if (HAL_TIMEx_MasterConfigSynchronization(&htim2, &sMasterConfig) != HAL_OK)
  {
    Error_Handler();
  }

}

static void MX_GPIO_Init(void)
{
  GPIO_InitTypeDef GPIO_InitStruct = {0};

  /* GPIO Ports Clock Enable */
  __HAL_RCC_GPIOC_CLK_ENABLE();
  __HAL_RCC_GPIOD_CLK_ENABLE();
  __HAL_RCC_GPIOA_CLK_ENABLE();
  __HAL_RCC_GPIOB_CLK_ENABLE();

  /*Configure GPIO pin Output Level */
  HAL_GPIO_WritePin(GPIOC, GPIO_PIN_14, GPIO_PIN_RESET);

  /*Configure GPIO pin Output Level */
  HAL_GPIO_WritePin(GPIOB, GPIO_PIN_11, GPIO_PIN_RESET);

  /*Configure GPIO pin Output Level */
  HAL_GPIO_WritePin(GPIOA, GPIO_PIN_10|GPIO_PIN_11|GPIO_PIN_12, GPIO_PIN_RESET);

  /*Configure GPIO pin : PC14 */
  GPIO_InitStruct.Pin = GPIO_PIN_14;
  GPIO_InitStruct.Mode = GPIO_MODE_OUTPUT_PP;
  GPIO_InitStruct.Pull = GPIO_NOPULL;
  GPIO_InitStruct.Speed = GPIO_SPEED_FREQ_LOW;
  HAL_GPIO_Init(GPIOC, &GPIO_InitStruct);

  /*Configure GPIO pin : PA7 */
  GPIO_InitStruct.Pin = GPIO_PIN_7;
  GPIO_InitStruct.Mode = GPIO_MODE_INPUT;
  GPIO_InitStruct.Pull = GPIO_PULLUP;
  HAL_GPIO_Init(GPIOA, &GPIO_InitStruct);

  /*Configure GPIO pins : PB0 PB1 PB10 PB12
                           PB13 PB14 PB15 PB4 */
  GPIO_InitStruct.Pin = GPIO_PIN_0|GPIO_PIN_1|GPIO_PIN_10|GPIO_PIN_12
                          |GPIO_PIN_13|GPIO_PIN_14|GPIO_PIN_15|GPIO_PIN_4;
  GPIO_InitStruct.Mode = GPIO_MODE_INPUT;
  GPIO_InitStruct.Pull = GPIO_PULLUP;
  HAL_GPIO_Init(GPIOB, &GPIO_InitStruct);

  /*Configure GPIO pin : PB11 */
  GPIO_InitStruct.Pin = GPIO_PIN_11;
  GPIO_InitStruct.Mode = GPIO_MODE_OUTPUT_PP;
  GPIO_InitStruct.Pull = GPIO_NOPULL;
  GPIO_InitStruct.Speed = GPIO_SPEED_FREQ_LOW;
  HAL_GPIO_Init(GPIOB, &GPIO_InitStruct);

  /*Configure GPIO pins : PA10 PA11 PA12 */
  GPIO_InitStruct.Pin = GPIO_PIN_10|GPIO_PIN_11|GPIO_PIN_12;
  GPIO_InitStruct.Mode = GPIO_MODE_OUTPUT_PP;
  GPIO_InitStruct.Pull = GPIO_NOPULL;
  GPIO_InitStruct.Speed = GPIO_SPEED_FREQ_LOW;
  HAL_GPIO_Init(GPIOA, &GPIO_InitStruct);

}

void Error_Handler(void)
{
  while(1)
  {
  }
}

/************************ (C) COPYRIGHT STMicroelectronics *****END OF FILE****/
